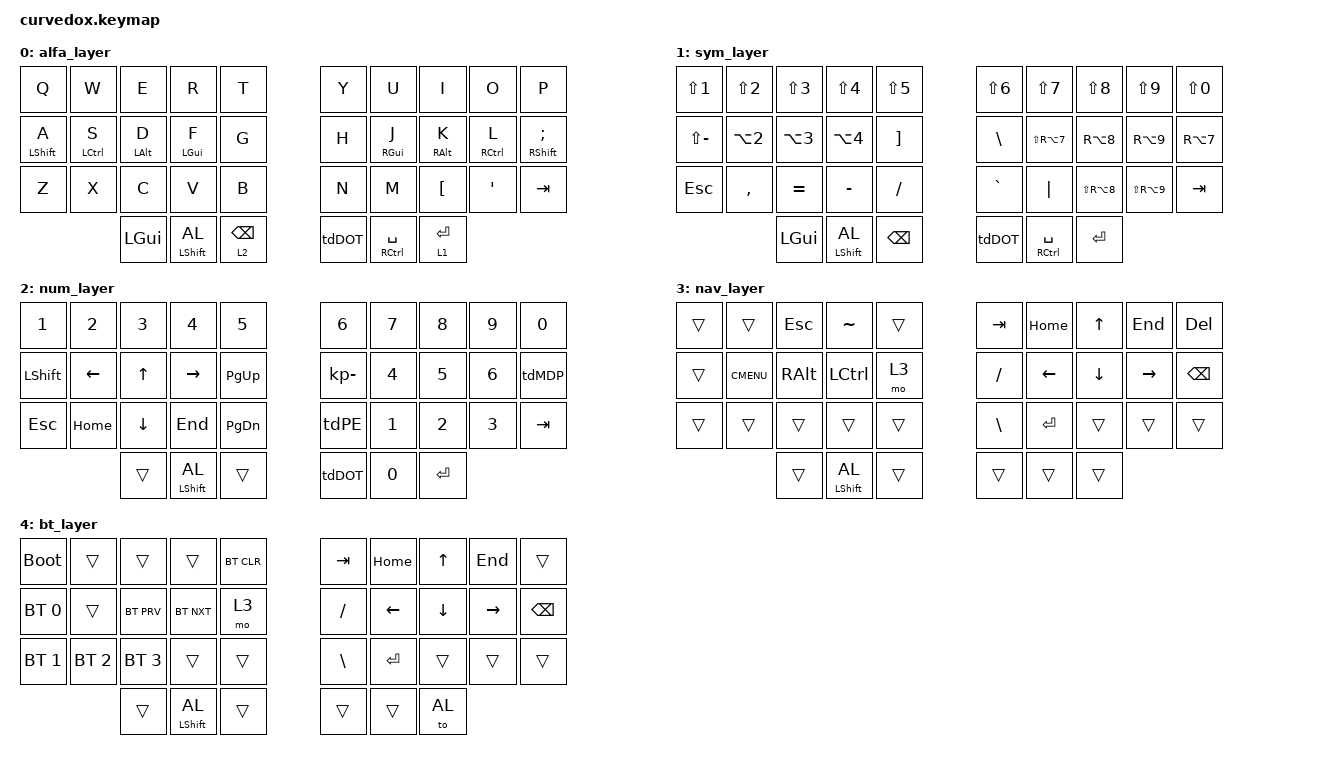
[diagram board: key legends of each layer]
/*
 * Copyright (c) 2020 The ZMK Contributors
 *
 * SPDX-License-Identifier: MIT
 */

#include <behaviors.dtsi>
#include <dt-bindings/zmk/keys.h>
#include <dt-bindings/zmk/bt.h>

&mt {
    tapping-term-ms = <201>;
    flavor = "tap-preferred";
};
&sk {
     release-after-ms = <2000>;
     quick-release;
};
&lt {
        quick_tap_ms = <200>;
};

/* Layers */
#define AL 0
#define SM 1
#define NU 2
#define NA 3
#define BT 4	

/ {
        combos {
                compatible = "zmk,combos";
                combo_esc {
                        timeout-ms = <30>;
                        key-positions = <0 1>;
                        bindings = <&kp ESC>;
                };
                combo_pp {
                        timeout-ms = <30>;
                        key-positions = <3 4>;
                        bindings = <&kp C_PP>;
                };
                combo_bt  {
                        timeout-ms = <30>;
                        key-positions = <4 24>;
                        bindings = <&to BT>;
                };
                combo_screenone  {
                        timeout-ms = <30>;
                        key-positions = <2 3>;
                        bindings = <&soMacro>;
                };
                combo_screentwo  {
                        timeout-ms = <30>;
                        key-positions = <6 7>;
                        bindings = <&stMacro>;
                };
                combo_screenshot  {
                        timeout-ms = <30>;
                        key-positions = <22 23>;
                        bindings = <&ssMacro>;
                };
                combo_ent  {
                        timeout-ms = <30>;
                        key-positions = <26 27>;
                        bindings = <&kp RET>;
                };
                combo_space  {
                        timeout-ms = <30>;
                        key-positions = <16 17>;
                        bindings = <&kp SPACE>;
                };
        };

        behaviors {
                sr: shift_layer {
                        compatible = "zmk,behavior-hold-tap";
                        label = "SHIFT_LAYER";
                        #binding-cells = <2>;
                        tapping-term-ms = <300>;
                        quick_tap_ms = <0>;
                        flavor = "tap-preferred";
                        bindings = <&kp>, <&to>;
                        retro-tap;
                };
                tdPE: tapdance_pe {
                        compatible = "zmk,behavior-tap-dance";
                        label = "TAPDANCE_PE";
                        #binding-cells = <0>;
                        tapping-term-ms = <190>;
                        bindings = <&kp KP_PLUS>,<&kp KP_EQUAL>;
                        
                };
                tdLTGT: tapdance_ltgt {
                        compatible = "zmk,behavior-tap-dance";
                        label = "TAPDANCE_LTGT";
                        #binding-cells = <0>;
                        tapping-term-ms = <190>;
                        bindings = <&kp LT>,<&kp GT>;
                        
                };
                tdMDP: tapdance_mdp {
                        compatible = "zmk,behavior-tap-dance";
                        label = "TAPDANCE_MDP";
                        #binding-cells = <0>;
                        tapping-term-ms = <190>;
                        bindings = <&kp KP_MULTIPLY >, <&kp KP_DIVIDE>, <&kp RS(5)>;
                };
                tdDOT: tapdance_dot {
                        compatible = "zmk,behavior-tap-dance";
                        label = "TAPDANCE_DOT";
                        #binding-cells = <0>;
                        tapping-term-ms = <190>;
                        bindings = <&mt RALT DOT>, <&kp COMMA>, <&kp RA(COMMA)>;
                };
                symbolsMacro: symbolsMacro {
                        compatible = "zmk,behavior-macro";
                        label = "MACRO1";
                        #binding-cells = <0>;
                        wait-ms = <30>;
                        tap-ms = <40>;
                        bindings = <&kp Z &kp M &kp K>;
                };
                szMacro: sz_Macro {
                        compatible = "zmk,behavior-macro";
                        label = "SCREENZERO_MACRO";
                        #binding-cells = <0>;
                        wait-ms = <30>;
                        tap-ms = <40>;
                        bindings = <&macro_press &kp RSHFT &kp RGUI>
                                 , <&macro_tap &kp KP_N0>
                                 , <&macro_release &kp RSHFT &kp RGUI>
                        ;
                };
                soMacro: so_Macro {
                        compatible = "zmk,behavior-macro";
                        label = "SCREENONE_MACRO";
                        #binding-cells = <0>;
                        wait-ms = <30>;
                        tap-ms = <40>;
                        bindings = <&macro_press &kp RSHFT &kp RGUI>
                                 , <&macro_tap &kp KP_N1>
                                 , <&macro_release &kp RSHFT &kp RGUI>
                        ;
                };
                stMacro: st_Macro {
                        compatible = "zmk,behavior-macro";
                        label = "SCREENTWO_MACRO";
                        #binding-cells = <0>;
                        wait-ms = <30>;
                        tap-ms = <40>;
                        bindings = <&macro_press &kp RSHFT &kp RGUI>
                                 , <&macro_tap &kp KP_N2>
                                 , <&macro_release &kp RSHFT &kp RGUI>
                        ;
                };
                ssMacro: ss_Macro {
                        compatible = "zmk,behavior-macro";
                        label = "SCREENSHOT_MACRO";
                        #binding-cells = <0>;
                        wait-ms = <30>;
                        tap-ms = <40>;
                        bindings = <&macro_press &kp RSHFT &kp RGUI &kp LCTRL>
                                 , <&macro_tap &kp KP_N4>
                                 , <&macro_release &kp RSHFT &kp RGUI &kp LCTRL>
                        ;
                };
                gtMacro: gt_Macro {
                        compatible = "zmk,behavior-macro";
                        label = "RT_MACRO";
                        #binding-cells = <0>;
                        wait-ms = <30>;
                        tap-ms = <40>;
                        bindings = <&macro_press &kp RALT>
                                 , <&macro_tap &kp KP_N2 &kp KP_N4 &kp KP_N2>
                                 , <&macro_release &kp RALT>
                        ;
                };
        };

        keymap {
                compatible = "zmk,keymap";

                alfa_layer {
                        bindings = <
// ╭───────────┬───────────┬───────────┬───────────┬───────────╮                          ╭───────────┬───────────┬───────────┬───────────┬───────────╮
// |     Q     |     W     |    E      |     R     |     T     |                          |     Y     |     U     |     I     |     O     |     P     |
       &kp Q       &kp W      &kp E        &kp R       &kp T                                  &kp Y       &kp U       &kp I       &kp O      &kp P
// ├───────────┼───────────┼───────────┼───────────┼───────────┤                          ├───────────┼───────────┼───────────┼───────────┼───────────┤
// |     A     |     S     |    D      |     F     |     G     |                          |     H     |     J     |     K     |     L     |     Ö     |
    &mt LSHFT A &mt LCTRL S &mt LALT D  &mt LGUI F     &kp G                                &kp H     &mt RGUI J  &mt RALT K &mt RCTRL L &mt RSHFT SEMI
// ├───────────┼───────────┼───────────┼───────────┼───────────┤                          ├───────────┼───────────┼───────────┼───────────┼───────────┤
// |     Z     |     X     |     C     |     V     |     B     |                          |     N     |     M     |     Å     |     Ä     |    ->|    |
       &kp Z       &kp X       &kp C       &kp V       &kp B                                  &kp N       &kp M     &kp LBKT     &kp SQT     &kp TAB
// ╰───────────┴───────────┼───────────┼───────────┼───────────┼───────────╮  ╭───────────┼───────────┼───────────┼───────────┼───────────┴───────────╯
//                                     | NUM/BACK  |   SHFT    |    GUI    |  |  ALT/./,  |   SPACE   |  SYM/ENT  |
                                         &kp LGUI  &sr LSHFT AL &lt 2 BSPC       &tdDOT  &mt RCTRL SPACE &lt 1 RET
//                                     ╰───────────┴───────────┴───────────╯  ╰───────────┴───────────┴───────────╯ 
                        >;
                };

                sym_layer {
                        bindings = <

// ╭──────────┬──────────┬──────────┬──────────┬──────────╮                        ╭──────────┬──────────┬──────────┬──────────┬──────────╮
// |    !     |    "     |    #     |    €     |    %     |                        |    &     |    /     |    (     |    )     |    =     |
    &kp LS(N1) &kp LS(N2) &kp LS(N3) &kp LS(N4) &kp LS(N5)                          &kp LS(N6) &kp LS(N7) &kp LS(N8) &kp LS(N9) &kp LS(N0)
// ├──────────┼──────────┼──────────┼──────────┼──────────┤                        ├──────────┼──────────┼──────────┼──────────┼──────────┤
// |    ?     |    @     |    £     |    $     |    ¨     |                        |    '     |    \     |    [     |    ]     |    |     |
   &kp LS(MINUS) &kp LA(N2) &kp LA(N3) &kp LA(N4) &kp RBKT                           &kp BSLH &kp LS(RA(N7)) &kp RA(N8) &kp RA(N9) &kp RA(N7)
// ├──────────┼──────────┼──────────┼──────────┼──────────┤                        ├──────────┼──────────┼──────────┼──────────┼──────────┤
// |   ESC    |    ,     |    ´     |    +     |    -     |                        |    <     |    *     |    {     |    }     |   ->|    |
   &kp ESC     &kp COMMA   &kp EQUAL &kp MINUS   &kp FSLH                           &kp GRAVE   &kp PIPE &kp LS(RA(N8)) &kp LS(RA(N9)) &kp TAB
// ╰──────────┴──────────┼──────────┼──────────┼──────────┼──────────╮  ╭──────────┼──────────┼──────────┼──────────┼──────────┴──────────╯
//                                  |   GUI    |          |    SPC   |  |   ENT    |          |   ALT    |
                                      &kp LGUI &sr LSHFT AL &kp BSPC      &tdDOT  &mt RCTRL SPACE &kp RET
//                                  ╰──────────┴──────────┴──────────╯  ╰──────────┴──────────┴──────────╯ 
                        >;
                };       

// This layer is unreachable until "tri layer state" is sorted out.
// Leaving it here for completeness.
                num_layer {
                        bindings = <
// ╭──────────┬──────────┬──────────┬──────────┬──────────╮                        ╭──────────┬──────────┬──────────┬──────────┬──────────╮
// |    1     |    2     |    3     |    4     |    5     |                        |    6     |    7     |    8     |    9     |    0     |                     
      &kp N1     &kp N2     &kp N3     &kp N4    &kp N5                               &kp N6     &kp N7     &kp N8     &kp N9     &kp N0
// ├──────────┼──────────┼──────────┼──────────┼──────────┤                        ├──────────┼──────────┼──────────┼──────────┼──────────┤
// |  LSHIFT  |   <--    |    UP    |   -->    |   PG_U   |                        |     -    |    4     |    5     |    6     |  * / %   |
    &kp LSHFT   &kp LEFT   &kp UP    &kp RIGHT  &kp PAGE_UP                        &kp KP_MINUS  &kp N4     &kp N5     &kp N6     &tdMDP
// ├──────────┼──────────┼──────────┼──────────┼──────────┤                        ├──────────┼──────────┼──────────┼──────────┼──────────┤
// |          |   HOME   |   DOWN   |   END    |   PG_D   |                        |     +    |    1     |    2     |    3     |   ->|    |
     &kp ESC    &kp HOME   &kp DOWN   &kp END  &kp PAGE_DOWN                          &tdPE      &kp N1     &kp N2     &kp N3    &kp TAB
// ╰──────────┴──────────┼──────────┼──────────┼──────────┼──────────╮  ╭──────────┼──────────┼──────────┼──────────┼──────────┴──────────╯
//                                  |          |          |          |  |  . , ;   |     0    |   RET    | 
                                       &trans  &sr LSHFT AL  &trans        &tdDOT     &kp N0    &kp RET
//                                  ╰──────────┴──────────┴──────────╯  ╰──────────┴──────────┴──────────╯
                        >;
                };

                nav_layer {
                        bindings = <
// ╭──────────┬──────────┬──────────┬──────────┬──────────╮                        ╭──────────┬──────────┬──────────┬──────────┬──────────╮
// |  BTCLR   |          |   ESC    |    ~     |          |                        |   TAB    |   HOME   |    UP    |   END    |   DEL    |
      &trans     &trans     &kp ESC   &kp TILDE   &trans                             &kp TAB    &kp HOME    &kp UP    &kp END    &kp DEL
// ├──────────┼──────────┼──────────┼──────────┼──────────┤                        ├──────────┼──────────┼──────────┼──────────┼──────────┤
// |   BT1    |   GUI    |   ALT    |   CTRL   |   NUM    |                        |    /     |   LEFT   |   DOWN   |   RGT    |   BKSP   |
      &trans  &kp K_CMENU &kp RALT    &kp LCTRL   &mo 3                              &kp FSLH   &kp LEFT   &kp DOWN   &kp RIGHT  &kp BSPC
// ├──────────┼──────────┼──────────┼──────────┼──────────┤                        ├──────────┼──────────┼──────────┼──────────┼──────────┤
// |   BT2    |          |          |          |          |                        |    \     |   ENT    |          |          |          |
     &trans      &trans     &trans     &trans     &trans                             &kp BSLH    &kp RET    &trans     &trans     &trans
// ╰──────────┴──────────┼──────────┼──────────┼──────────┼──────────╮  ╭──────────┼──────────┼──────────┼──────────┼──────────┴──────────╯
//                                  |          |          |          |  |          |          |          |                         
                                       &trans  &sr LSHFT AL  &trans        &trans     &trans     &trans
//                                  ╰──────────┴──────────┴──────────╯  ╰──────────┴──────────┴──────────╯
                        >;
                };

                bt_layer {
                        bindings = <
// ╭──────────┬──────────┬──────────┬──────────┬──────────╮                        ╭──────────┬──────────┬──────────┬──────────┬──────────╮
// |  BTCLR   |          |   ESC    |    ~     |          |                        |   TAB    |   HOME   |    UP    |   END    |   DEL    |                 
   &bootloader   &trans     &trans    &trans    &bt BT_CLR                           &kp TAB    &kp HOME    &kp UP    &kp END     &trans
// ├──────────┼──────────┼──────────┼──────────┼──────────┤                        ├──────────┼──────────┼──────────┼──────────┼──────────┤
// |   BT1    |   GUI    |   ALT    |   CTRL   |   NUM    |                        |    /     |   LEFT   |   DOWN   |   RGT    |   BKSP   |
   &bt BT_SEL 0  &trans   &bt BT_PRV &bt BT_NXT   &mo 3                              &kp FSLH   &kp LEFT   &kp DOWN  &kp RIGHT   &kp BSPC
// ├──────────┼──────────┼──────────┼──────────┼──────────┤                        ├──────────┼──────────┼──────────┼──────────┼──────────┤
// |   BT2    |          |          |          |          |                        |    \     |    ENT   |          |          |          |
   &bt BT_SEL 1 &bt BT_SEL 2 &bt BT_SEL 3 &trans  &trans                             &kp BSLH   &kp RET     &trans     &trans     &trans
// ╰──────────┴──────────┼──────────┼──────────┼──────────┼──────────╮  ╭──────────┼──────────┼──────────┼──────────┼──────────┴──────────╯
//                                  |          |          |          |  |          |          |          | 
                                       &trans  &sr LSHFT AL  &trans        &trans     &trans     &to AL
//                                  ╰──────────┴──────────┴──────────╯  ╰──────────┴──────────┴──────────╯
                        >;
                };


        };
};

